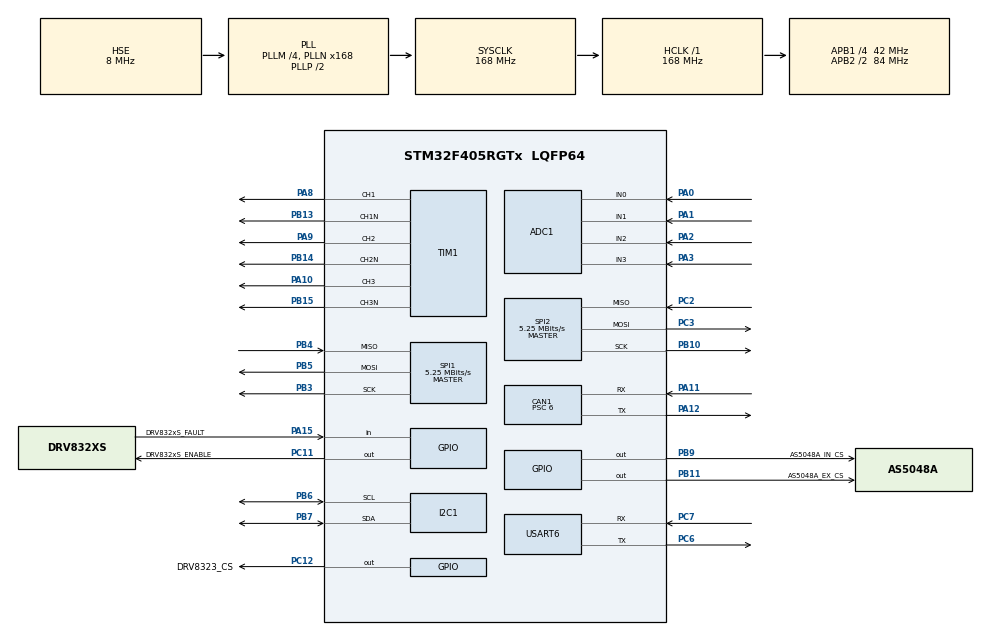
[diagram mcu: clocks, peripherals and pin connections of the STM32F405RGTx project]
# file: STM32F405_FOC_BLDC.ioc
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ADC1.Channel-0\#ChannelRegularConversion=ADC_CHANNEL_0
ADC1.Channel-1\#ChannelInjectedConversion=ADC_CHANNEL_0
ADC1.Channel-2\#ChannelInjectedConversion=ADC_CHANNEL_1
ADC1.Channel-3\#ChannelInjectedConversion=ADC_CHANNEL_2
ADC1.Channel-4\#ChannelInjectedConversion=ADC_CHANNEL_3
ADC1.ExternalTrigInjecConv=ADC_EXTERNALTRIGINJECCONV_T1_CC4
ADC1.InjNumberOfConversion=4
ADC1.InjectedOffset-1\#ChannelInjectedConversion=0
ADC1.InjectedOffset-2\#ChannelInjectedConversion=0
ADC1.InjectedOffset-3\#ChannelInjectedConversion=0
ADC1.InjectedOffset-4\#ChannelInjectedConversion=0
ADC1.InjectedRank-1\#ChannelInjectedConversion=1
ADC1.InjectedRank-2\#ChannelInjectedConversion=2
ADC1.InjectedRank-3\#ChannelInjectedConversion=3
ADC1.InjectedRank-4\#ChannelInjectedConversion=4
ADC1.NbrOfConversionFlag=1
ADC1.Rank-0\#ChannelRegularConversion=1
ADC1.SamplingTime-0\#ChannelRegularConversion=ADC_SAMPLETIME_3CYCLES
ADC1.SamplingTime-1\#ChannelInjectedConversion=ADC_SAMPLETIME_15CYCLES
ADC1.SamplingTime-2\#ChannelInjectedConversion=ADC_SAMPLETIME_15CYCLES
ADC1.SamplingTime-3\#ChannelInjectedConversion=ADC_SAMPLETIME_15CYCLES
ADC1.SamplingTime-4\#ChannelInjectedConversion=ADC_SAMPLETIME_15CYCLES
ADC1.master=1
CAN1.BS1=CAN_BS1_2TQ
CAN1.BS2=CAN_BS2_4TQ
CAN1.CalculateBaudRate=1000000
CAN1.CalculateTimeBit=1000
CAN1.CalculateTimeQuantum=142.85714285714286
CAN1.Prescaler=6
Dma.I2C1_RX.4.Direction=DMA_PERIPH_TO_MEMORY
Dma.I2C1_RX.4.FIFOMode=DMA_FIFOMODE_DISABLE
Dma.I2C1_RX.4.Instance=DMA1_Stream0
Dma.I2C1_RX.4.MemDataAlignment=DMA_MDATAALIGN_BYTE
Dma.I2C1_RX.4.MemInc=DMA_MINC_ENABLE
Dma.I2C1_RX.4.Mode=DMA_NORMAL
Dma.I2C1_RX.4.PeriphDataAlignment=DMA_PDATAALIGN_BYTE
Dma.I2C1_RX.4.PeriphInc=DMA_PINC_DISABLE
Dma.I2C1_RX.4.Priority=DMA_PRIORITY_LOW
Dma.I2C1_TX.5.Direction=DMA_MEMORY_TO_PERIPH
Dma.I2C1_TX.5.FIFOMode=DMA_FIFOMODE_DISABLE
Dma.I2C1_TX.5.Instance=DMA1_Stream6
Dma.I2C1_TX.5.MemDataAlignment=DMA_MDATAALIGN_BYTE
Dma.I2C1_TX.5.MemInc=DMA_MINC_ENABLE
Dma.I2C1_TX.5.Mode=DMA_NORMAL
Dma.I2C1_TX.5.PeriphDataAlignment=DMA_PDATAALIGN_BYTE
Dma.I2C1_TX.5.PeriphInc=DMA_PINC_DISABLE
Dma.I2C1_TX.5.Priority=DMA_PRIORITY_LOW
Dma.Request0=USART6_RX
Dma.Request1=USART6_TX
Dma.Request2=SPI2_RX
Dma.Request3=SPI2_TX
Dma.Request4=I2C1_RX
Dma.Request5=I2C1_TX
Dma.Request6=SPI1_RX
Dma.Request7=SPI1_TX
Dma.SPI1_RX.6.Direction=DMA_PERIPH_TO_MEMORY
Dma.SPI1_RX.6.FIFOMode=DMA_FIFOMODE_DISABLE
Dma.SPI1_RX.6.Instance=DMA2_Stream0
Dma.SPI1_RX.6.MemDataAlignment=DMA_MDATAALIGN_BYTE
Dma.SPI1_RX.6.MemInc=DMA_MINC_ENABLE
Dma.SPI1_RX.6.Mode=DMA_NORMAL
Dma.SPI1_RX.6.PeriphDataAlignment=DMA_PDATAALIGN_BYTE
Dma.SPI1_RX.6.PeriphInc=DMA_PINC_DISABLE
Dma.SPI1_RX.6.Priority=DMA_PRIORITY_LOW
Dma.SPI1_TX.7.Direction=DMA_MEMORY_TO_PERIPH
Dma.SPI1_TX.7.FIFOMode=DMA_FIFOMODE_DISABLE
Dma.SPI1_TX.7.Instance=DMA2_Stream3
Dma.SPI1_TX.7.MemDataAlignment=DMA_MDATAALIGN_BYTE
Dma.SPI1_TX.7.MemInc=DMA_MINC_ENABLE
Dma.SPI1_TX.7.Mode=DMA_NORMAL
Dma.SPI1_TX.7.PeriphDataAlignment=DMA_PDATAALIGN_BYTE
Dma.SPI1_TX.7.PeriphInc=DMA_PINC_DISABLE
Dma.SPI1_TX.7.Priority=DMA_PRIORITY_LOW
Dma.SPI2_RX.2.Direction=DMA_PERIPH_TO_MEMORY
Dma.SPI2_RX.2.FIFOMode=DMA_FIFOMODE_DISABLE
Dma.SPI2_RX.2.Instance=DMA1_Stream3
Dma.SPI2_RX.2.MemDataAlignment=DMA_MDATAALIGN_BYTE
Dma.SPI2_RX.2.MemInc=DMA_MINC_ENABLE
Dma.SPI2_RX.2.Mode=DMA_NORMAL
Dma.SPI2_RX.2.PeriphDataAlignment=DMA_PDATAALIGN_BYTE
Dma.SPI2_RX.2.PeriphInc=DMA_PINC_DISABLE
Dma.SPI2_RX.2.Priority=DMA_PRIORITY_LOW
Dma.SPI2_TX.3.Direction=DMA_MEMORY_TO_PERIPH
Dma.SPI2_TX.3.FIFOMode=DMA_FIFOMODE_DISABLE
Dma.SPI2_TX.3.Instance=DMA1_Stream4
Dma.SPI2_TX.3.MemDataAlignment=DMA_MDATAALIGN_BYTE
Dma.SPI2_TX.3.MemInc=DMA_MINC_ENABLE
Dma.SPI2_TX.3.Mode=DMA_NORMAL
Dma.SPI2_TX.3.PeriphDataAlignment=DMA_PDATAALIGN_BYTE
Dma.SPI2_TX.3.PeriphInc=DMA_PINC_DISABLE
Dma.SPI2_TX.3.Priority=DMA_PRIORITY_LOW
Dma.USART6_RX.0.Direction=DMA_PERIPH_TO_MEMORY
Dma.USART6_RX.0.FIFOMode=DMA_FIFOMODE_DISABLE
Dma.USART6_RX.0.Instance=DMA2_Stream1
Dma.USART6_RX.0.MemDataAlignment=DMA_MDATAALIGN_BYTE
Dma.USART6_RX.0.MemInc=DMA_MINC_ENABLE
Dma.USART6_RX.0.Mode=DMA_NORMAL
Dma.USART6_RX.0.PeriphDataAlignment=DMA_PDATAALIGN_BYTE
Dma.USART6_RX.0.PeriphInc=DMA_PINC_DISABLE
Dma.USART6_RX.0.Priority=DMA_PRIORITY_LOW
Dma.USART6_TX.1.Direction=DMA_MEMORY_TO_PERIPH
Dma.USART6_TX.1.FIFOMode=DMA_FIFOMODE_DISABLE
Dma.USART6_TX.1.Instance=DMA2_Stream6
Dma.USART6_TX.1.MemDataAlignment=DMA_MDATAALIGN_BYTE
Dma.USART6_TX.1.MemInc=DMA_MINC_ENABLE
Dma.USART6_TX.1.Mode=DMA_NORMAL
Dma.USART6_TX.1.PeriphDataAlignment=DMA_PDATAALIGN_BYTE
Dma.USART6_TX.1.PeriphInc=DMA_PINC_DISABLE
Dma.USART6_TX.1.Priority=DMA_PRIORITY_LOW
FREERTOS.Tasks01=defaultTask,24,128,StartDefaultTask,Default,NULL,Dynamic,NULL,NULL
FREERTOS.configENABLE_FPU=1
Mcu.Family=STM32F4
Mcu.Name=STM32F405RGTx
Mcu.Package=LQFP64
NVIC.ADC_IRQn=true\:6\:0\:true\:false\:true\:true\:true\:true\:true
NVIC.CAN1_RX0_IRQn=true\:8\:0\:true\:false\:true\:true\:true\:true\:true
NVIC.DMA1_Stream0_IRQn=true\:7\:0\:true\:false\:true\:true\:false\:true\:true
NVIC.DMA1_Stream3_IRQn=true\:7\:0\:true\:false\:true\:true\:false\:true\:true
NVIC.DMA1_Stream4_IRQn=true\:7\:0\:true\:false\:true\:true\:false\:true\:true
NVIC.DMA1_Stream6_IRQn=true\:7\:0\:true\:false\:true\:true\:false\:true\:true
NVIC.DMA2_Stream0_IRQn=true\:7\:0\:true\:false\:true\:true\:false\:true\:true
NVIC.DMA2_Stream1_IRQn=true\:7\:0\:true\:false\:true\:true\:false\:true\:true
NVIC.DMA2_Stream3_IRQn=true\:7\:0\:true\:false\:true\:true\:false\:true\:true
NVIC.DMA2_Stream6_IRQn=true\:7\:0\:true\:false\:true\:true\:false\:true\:true
NVIC.I2C1_EV_IRQn=true\:14\:0\:true\:false\:true\:true\:true\:true\:true
NVIC.PriorityGroup=NVIC_PRIORITYGROUP_4
NVIC.SPI1_IRQn=true\:13\:0\:true\:false\:true\:true\:true\:true\:true
NVIC.SPI2_IRQn=true\:13\:0\:true\:false\:true\:true\:true\:true\:true
NVIC.TIM1_TRG_COM_TIM11_IRQn=true\:15\:0\:false\:false\:true\:false\:false\:true\:true
NVIC.TIM1_UP_TIM10_IRQn=true\:15\:0\:false\:false\:true\:false\:false\:true\:true
NVIC.TimeBase=TIM1_TRG_COM_TIM11_IRQn
NVIC.TimeBaseIP=TIM11
NVIC.USART6_IRQn=true\:8\:0\:true\:false\:true\:true\:false\:true\:true
PA0-WKUP.Signal=ADCx_IN0
PA1.Signal=ADCx_IN1
PA10.Signal=S_TIM1_CH3
PA11.Mode=CAN_Activate
PA11.Signal=CAN1_RX
PA12.Mode=CAN_Activate
PA12.Signal=CAN1_TX
PA13.Mode=Serial_Wire
PA13.Signal=SYS_JTMS-SWDIO
PA14.Mode=Serial_Wire
PA14.Signal=SYS_JTCK-SWCLK
PA15.GPIO_Label=DRV832xS_FAULT
PA15.Signal=GPIO_Input
PA2.Signal=ADCx_IN2
PA3.Signal=ADCx_IN3
PA8.Signal=S_TIM1_CH1
PA9.Signal=S_TIM1_CH2
PB10.Mode=Full_Duplex_Master
PB10.Signal=SPI2_SCK
PB11.GPIO_Label=AS5048A_EX_CS
PB11.GPIO_ModeDefaultOutputPP=GPIO_MODE_OUTPUT_PP
PB11.GPIO_PuPd=GPIO_NOPULL
PB11.GPIO_Speed=GPIO_SPEED_FREQ_VERY_HIGH
PB11.Signal=GPIO_Output
PB13.Mode=Output Compare1 CH1 CH1N
PB13.Signal=TIM1_CH1N
PB14.Mode=PWM Generation2 CH2 CH2N
PB14.Signal=TIM1_CH2N
PB15.Mode=PWM Generation3 CH3 CH3N
PB15.Signal=TIM1_CH3N
PB3.Mode=Full_Duplex_Master
PB3.Signal=SPI1_SCK
PB4.Mode=Full_Duplex_Master
PB4.Signal=SPI1_MISO
PB5.Mode=Full_Duplex_Master
PB5.Signal=SPI1_MOSI
PB6.Mode=I2C
PB6.Signal=I2C1_SCL
PB7.Mode=I2C
PB7.Signal=I2C1_SDA
PB9.GPIO_Label=AS5048A_IN_CS
PB9.GPIO_ModeDefaultOutputPP=GPIO_MODE_OUTPUT_PP
PB9.GPIO_PuPd=GPIO_NOPULL
PB9.GPIO_Speed=GPIO_SPEED_FREQ_VERY_HIGH
PB9.Signal=GPIO_Output
PC11.GPIO_Label=DRV832xS_ENABLE
PC11.GPIO_ModeDefaultOutputPP=GPIO_MODE_OUTPUT_PP
PC11.GPIO_PuPd=GPIO_NOPULL
PC11.GPIO_Speed=GPIO_SPEED_FREQ_VERY_HIGH
PC11.Signal=GPIO_Output
PC12.GPIO_Label=DRV8323_CS
PC12.GPIO_ModeDefaultOutputPP=GPIO_MODE_OUTPUT_PP
PC12.GPIO_PuPd=GPIO_NOPULL
PC12.GPIO_Speed=GPIO_SPEED_FREQ_VERY_HIGH
PC12.Signal=GPIO_Output
PC2.Mode=Full_Duplex_Master
PC2.Signal=SPI2_MISO
PC3.Mode=Full_Duplex_Master
PC3.Signal=SPI2_MOSI
PC6.Mode=Asynchronous
PC6.Signal=USART6_TX
PC7.Mode=Asynchronous
PC7.Signal=USART6_RX
PH0-OSC_IN.Mode=HSE-External-Oscillator
PH0-OSC_IN.Signal=RCC_OSC_IN
PH1-OSC_OUT.Mode=HSE-External-Oscillator
PH1-OSC_OUT.Signal=RCC_OSC_OUT
ProjectManager.HeapSize=0x200
ProjectManager.StackSize=0x400
ProjectManager.TargetToolchain=Makefile
RCC.48MHZClocksFreq_Value=84000000
RCC.AHBFreq_Value=168000000
RCC.APB1CLKDivider=RCC_HCLK_DIV4
RCC.APB1Freq_Value=42000000
RCC.APB1TimFreq_Value=84000000
RCC.APB2CLKDivider=RCC_HCLK_DIV2
RCC.APB2Freq_Value=84000000
RCC.APB2TimFreq_Value=168000000
RCC.CortexFreq_Value=168000000
RCC.HCLKFreq_Value=168000000
RCC.HSE_VALUE=8000000
RCC.HSI_VALUE=16000000
RCC.LSE_VALUE=32768
RCC.PLLM=4
RCC.PLLN=168
RCC.PLLSourceVirtual=RCC_PLLSOURCE_HSE
RCC.SYSCLKFreq_VALUE=168000000
RCC.SYSCLKSource=RCC_SYSCLKSOURCE_PLLCLK
RCC.VCOOutputFreq_Value=336000000
SH.ADCx_IN0.0=ADC1_IN0,IN0
SH.ADCx_IN1.0=ADC1_IN1,IN1
SH.ADCx_IN2.0=ADC1_IN2,IN2
SH.ADCx_IN3.0=ADC1_IN3,IN3
SH.S_TIM1_CH1.0=TIM1_CH1,Output Compare1 CH1 CH1N
SH.S_TIM1_CH2.0=TIM1_CH2,PWM Generation2 CH2 CH2N
SH.S_TIM1_CH3.0=TIM1_CH3,PWM Generation3 CH3 CH3N
SPI1.BaudRatePrescaler=SPI_BAUDRATEPRESCALER_16
SPI1.CalculateBaudRate=5.25 MBits/s
SPI1.DataSize=SPI_DATASIZE_8BIT
SPI1.Direction=SPI_DIRECTION_2LINES
SPI1.Mode=SPI_MODE_MASTER
SPI1.VirtualType=VM_MASTER
SPI2.BaudRatePrescaler=SPI_BAUDRATEPRESCALER_8
SPI2.CalculateBaudRate=5.25 MBits/s
SPI2.Direction=SPI_DIRECTION_2LINES
SPI2.Mode=SPI_MODE_MASTER
SPI2.VirtualType=VM_MASTER
TIM1.Channel-Output\ Compare1\ CH1\ CH1N=TIM_CHANNEL_1
TIM1.Channel-PWM\ Generation2\ CH2\ CH2N=TIM_CHANNEL_2
TIM1.Channel-PWM\ Generation3\ CH3\ CH3N=TIM_CHANNEL_3
TIM1.Channel-PWM\ Generation4\ No\ Output=TIM_CHANNEL_4
USART6.VirtualMode=VM_ASYNC
VP_FREERTOS_VS_CMSIS_V2.Mode=CMSIS_V2
VP_SYS_VS_tim11.Mode=TIM11
VP_TIM1_VS_ClockSourceINT.Mode=Internal
VP_TIM1_VS_no_output4.Mode=PWM Generation4 No Output
board=custom

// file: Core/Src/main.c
/* USER CODE BEGIN Header */
/**
  ******************************************************************************
  * @file           : main.c
  * @brief          : Main program body
  ******************************************************************************
  * @attention
  *
  * Copyright (c) 2026 STMicroelectronics.
  * All rights reserved.
  *
  * This software is licensed under terms that can be found in the LICENSE file
  * in the root directory of this software component.
  * If no LICENSE file comes with this software, it is provided AS-IS.
  *
  ******************************************************************************
  */
/* USER CODE END Header */
#include "main.h"
#include "cmsis_os.h"

/* USER CODE BEGIN Includes */
#include "device_config.h"
#include "stm32f405_link.h"
#include "motor.h"
#include "as5048a.h"
#include "FOC_utils.h"
#include "self_commissioning.h"
#include "storage.h"
#include "sf_motion_usb_com.h"
#include "sf_motion_com.h"
#include "string.h"
/* USER CODE END Includes */

ADC_HandleTypeDef hadc1;

CAN_HandleTypeDef hcan1;

I2C_HandleTypeDef hi2c1;
DMA_HandleTypeDef hdma_i2c1_rx;
DMA_HandleTypeDef hdma_i2c1_tx;

SPI_HandleTypeDef hspi1;
SPI_HandleTypeDef hspi2;
DMA_HandleTypeDef hdma_spi1_rx;
DMA_HandleTypeDef hdma_spi1_tx;
DMA_HandleTypeDef hdma_spi2_rx;
DMA_HandleTypeDef hdma_spi2_tx;

TIM_HandleTypeDef htim1;

UART_HandleTypeDef huart6;
DMA_HandleTypeDef hdma_usart6_rx;
DMA_HandleTypeDef hdma_usart6_tx;

/* Definitions for defaultTask */
osThreadId_t defaultTaskHandle;
const osThreadAttr_t defaultTask_attributes = {
  .name = "defaultTask",
  .stack_size = 128 * 4,
  .priority = (osPriority_t) osPriorityNormal,
};
/* USER CODE BEGIN PV */

AS5048A_t hencd1;
uint32_t adc_buff[4];
foc_t hfoc1;
self_commissioning_t hsc1;
storage_t hstorage1;

sfm_usb_com_t hsfm_usb_com;
sfm_com_t husb_com;
sfm_com_t hcan_com;

char usb_send_buff[64];
uint8_t can_send_buff[64];
uint8_t can_recv_buff[64];

/* USER CODE END PV */

void SystemClock_Config(void);
static void MX_GPIO_Init(void);
static void MX_DMA_Init(void);
static void MX_ADC1_Init(void);
static void MX_TIM1_Init(void);
static void MX_USART6_UART_Init(void);
static void MX_SPI1_Init(void);
static void MX_SPI2_Init(void);
static void MX_CAN1_Init(void);
static void MX_I2C1_Init(void);
void StartDefaultTask(void *argument);

/* USER CODE BEGIN 0 */

void motor1_inverter_enable(void) {
  DRV832xS_ENABLE_GPIO_Port->BSRR = DRV832xS_ENABLE_Pin;
  // link_enable_pwm(&htim1);
  // link_enable_adc(&hadc1);
}

void motor1_inverter_disable(void) {
  DRV832xS_ENABLE_GPIO_Port->BSRR = DRV832xS_ENABLE_Pin<<16;
  // link_disable_pwm(&htim1);
  // link_disable_adc(&hadc1);
}

uint32_t motor1_get_pwm_res(void) {
  return link_get_max_pwm(&htim1);
}

float motor1_as5048a_get_mech_deg(void) {
  return AS5048A_get_degree(&hencd1);
}

float motor1_as5048a_get_continuous_mech_deg(void) {
  return AS5048A_get_continuous_degree(&hencd1);
}

float motor1_as5048a_get_rpm(void) {
  return AS5048A_get_rpm(&hencd1);
}

int motor1_as5048a_spi_transmit(uint8_t *tx, uint8_t *rx, uint16_t len) {
  if (HAL_SPI_TransmitReceive_DMA(&hspi2, tx, rx, len) == HAL_OK) return 0;
  return -1;
}

// void motor1_as5047p_spi_cs(_Bool cs_state) {
//   if (cs_state) SPI_CS_GPIO_Port->BSRR = SPI_CS_Pin;
//   else SPI_CS_GPIO_Port->BSRR = SPI_CS_Pin<<16;
// }

int write_flash(void *data, uint32_t len) {
  return link_write_flash(data, len);
}

int read_flash(void *data, uint32_t len) {
  memcpy(data, (void*)FLASH_SECTOR_ADDR, len);
  return 0;
}

// int usb_send_data(uint8_t *data, uint16_t len) {
//   if (CDC_Transmit_FS(data, len) != USBD_OK) return -1;
//   return 0;
// }

int sfm_com_usb_send_data(uint8_t *data, uint16_t len) {
  if (sfm_usb_com_start_send_data(&hsfm_usb_com, data, len) == 0) return 0;
  return -1;
}

int sfm_com_usb_recv_data(uint8_t *data, uint16_t len) {
  (void)data;
  (void)len;
  return 0;
}

int can_recv_data(uint8_t *data, uint16_t len) {
  (void)data;
  (void)len;
  return 0;
}

int can_send_data(uint8_t *data, uint16_t len) {
  uint32_t can_std_id = (data[0] << 8) | data[1];
  return link_can_send_data(can_std_id, data + 2, len);
}

/**************************************************************************** */

static void init_motor(void) {
  // motor pwm
  motor_init_pwm(&hfoc1.motor, &TIM1->CCR1, &TIM1->CCR2, &TIM1->CCR3);
  // current sense
  motor_init_adc_current_sense(&hfoc1.motor, &adc_buff[0], &adc_buff[1], &adc_buff[2]);
  // power voltage sense
  motor_init_adc_power_voltage_sense(&hfoc1.motor, &adc_buff[3]);
  motor_init_lpf_power_voltage_sense(&hfoc1.motor, hstorage1.memory.voltage_sens.filter_fc, BLDC_PWM_FREQ);
  // current sense amplifier calibration enable (for internal CSA only)
  // CSA_CAL1_GPIO_Port->BSRR = CSA_CAL1_Pin << 16;
}

static void init_encoder(void) {
  AS5048A_Config(&hencd1, motor1_as5048a_spi_transmit,GPIO_AS5048A_EX_CS_EN,GPIO_AS5048A_EX_CS_DIS);
  AS5048A_Init(&hencd1,
              hstorage1.memory.encoder_config.is_dir_inverted? SENSOR_DIR_REVERSE : SENSOR_DIR_NORMAL,
              hstorage1.memory.encoder_config.scale);
  AS5048A_set_pll_filter(&hencd1,
                        hstorage1.memory.encoder_config.pll_filt_bandwidth,
                        hstorage1.memory.encoder_config.pll_filt_damping_ratio,
                        FOC_TS);
}

static void init_foc(void) {
#if USB_TO_CAN
  link_can_init(USB_TO_CAN_DEVICE_ID);
  sfm_usb_com_init(&hsfm_usb_com, usb_send_data);
  sfm_com_init(&husb_com,
              sfm_com_usb_recv_data,
              sfm_com_usb_send_data,
              HAL_GetTick,
              link_system_reset,
              &hfoc1, &hstorage1, &hsc1);
  sfm_com_init(&hcan_com,
              can_recv_data,
              can_send_data,
              HAL_GetTick,
              link_system_reset,
              &hfoc1, &hstorage1, &hsc1);
#else
  storage_init(&hstorage1, write_flash, read_flash);
  storage_read_config(&hstorage1);
  storage_copy_to_local(&hstorage1, &hfoc1);

  link_set_pwm_freq(&htim1, BLDC_PWM_FREQ);
  init_motor();
  init_encoder();
  sc_init(&hsc1, &hfoc1);

  i2t_init(&hfoc1.i2t, FOC_TS);
  i2t_set_config(&hfoc1.i2t,
                hstorage1.memory.protection.i2t_i_rated,
                hstorage1.memory.protection.i2t_i_max,
                hstorage1.memory.protection.i2t_t_max);
  float uv = hstorage1.memory.protection.under_voltage;
  float ov = hstorage1.memory.protection.over_voltage;
  vbus_init(&hfoc1.vbus_prot, uv, ov, FOC_TS);
  foc_inverter_init(&hfoc1, motor1_inverter_enable, motor1_inverter_disable, motor1_get_pwm_res);
  foc_feedback_sensor_init(&hfoc1,
                          motor1_as5048a_get_mech_deg,
                          motor1_as5048a_get_continuous_mech_deg,
                          motor1_as5048a_get_rpm,
                          hstorage1.memory.encoder_config.error_comp_deg);
  foc_cogging_comp_init(&hfoc1, hstorage1.memory.cogging_torque.current_LUT);
  foc_disable(&hfoc1);

  link_can_init(hfoc1.motor.device_id);
  // sfm_usb_com_init(&hsfm_usb_com, usb_send_data);
  // sfm_com_init(&husb_com,
  //             sfm_com_usb_recv_data,
  //             sfm_com_usb_send_data,
  //             HAL_GetTick,
  //             link_system_reset,
  //             &hfoc1, &hstorage1, &hsc1);
  sfm_com_init(&hcan_com,
              can_recv_data,
              can_send_data,
              HAL_GetTick,
              link_system_reset,
              &hfoc1, &hstorage1, &hsc1);

  // Id PI parameter
  pid_reset(&hfoc1.id_ctrl);
  pid_set_ts(&hfoc1.id_ctrl, FOC_TS);
  // Id PI parameter
  pid_reset(&hfoc1.iq_ctrl);
  pid_set_ts(&hfoc1.iq_ctrl, FOC_TS);
  // Speed PID parameter
  pid_reset(&hfoc1.speed_ctrl);
  pid_set_ts(&hfoc1.speed_ctrl, SPEED_TS);
  // Position PID parameter
  pid_reset(&hfoc1.pos_ctrl);
  pid_set_ts(&hfoc1.pos_ctrl, POSITION_TS);
  pid_set_max_d(&hfoc1.pos_ctrl, 100.0f);
  // field weakening
  pid_reset(&hfoc1.fw_ctrl);
  pid_set_ts(&hfoc1.fw_ctrl, FOC_TS);

  // foc_set_mode(&hfoc1, FOC_MODE_SENSORLESS_SMO_HFI_NEW);
  foc_sensorless_init(&hfoc1, BLDC_PWM_FREQ);

  // HAL_Delay(500);
  link_enable_pwm(&htim1);
  link_enable_adc(&hadc1);
  foc_enable(&hfoc1);
  // foc_set_motor_mode(&hfoc1, hstorage1.memory.motor_config.motor_mode);
#endif
}

// static void indicator_update(void) {
//   static uint32_t heartbeat_tick = 0;
//   if (HAL_GetTick() - heartbeat_tick >= 500) {
//     heartbeat_tick = HAL_GetTick();
//     HAL_GPIO_TogglePin(LED_G_GPIO_Port, LED_G_Pin);
//   }
//   if (HAL_GPIO_ReadPin(NFAULT1_GPIO_Port, NFAULT1_Pin)) {
//     LED_R_GPIO_Port->BSRR = LED_R_Pin<<16;
//   }
//   else {
//     LED_R_GPIO_Port->BSRR = LED_R_Pin;
//   }
// }

static void self_commissioning_update(void) {
  if (sc_is_measure_done(&hsc1)) {
    switch(sc_get_seq(&hsc1)) {
      case SC_SEQUENCE_START_MEASURE_RS:
        foc_set_motor_Rs(&hfoc1, sc_get_Rs(&hsc1));
        break;
      case SC_SEQUENCE_START_MEASURE_LD:
        foc_set_motor_Ld(&hfoc1, sc_get_Ld(&hsc1));
        break;
      case SC_SEQUENCE_START_MEASURE_LQ:
        foc_set_motor_Lq(&hfoc1, sc_get_Lq(&hsc1));
        break;
      case SC_SEQUENCE_START_CALIBRATE_ABS_ENCODER:
        break;
      case SC_SEQUENCE_START_CALC_POLE_PAIRS:
        break;
      case SC_SEQUENCE_START_MEASURE_COGGING_TORQUE:
        husb_com.show_cogging_torque_lut = 1;
        break;
      default:
        break;
    }
    sfm_com_send_event(&husb_com, SFM_EVENT_SELFCOM_DONE);
    sfm_com_send_event(&hcan_com, SFM_EVENT_SELFCOM_DONE);
  }
}

static void event_update(void) {
  foc_error_t error_code = FOC_ERROR_NONE;
  if (foc_get_error_flag(&hfoc1, &error_code)) {
    switch (error_code) {
      case FOC_ERROR_I2T_TRIPPED: {
        sfm_com_send_event(&husb_com, SFM_EVENT_I2T_TRIPPED);
        sfm_com_send_event(&hcan_com, SFM_EVENT_I2T_TRIPPED);
        break;
      }
      case FOC_ERROR_OVER_VOLTAGE: {
        sfm_com_send_event(&husb_com, SFM_EVENT_OVER_VOLTAGE);
        sfm_com_send_event(&hcan_com, SFM_EVENT_OVER_VOLTAGE);
        break;
      }
      case FOC_ERROR_UNDER_VOLTAGE: {
        sfm_com_send_event(&husb_com, SFM_EVENT_UNDER_VOLTAGE);
        sfm_com_send_event(&hcan_com, SFM_EVENT_UNDER_VOLTAGE);
        break;
      }
      default:
        break;
    }
  }
}

void usb_to_can_update(void) {
  if (husb_com.incomming_data_flag) {
    husb_com.incomming_data_flag = 0;
    hcan_com.send_data(husb_com.data_rx, husb_com.data_rx_len);
  }
  if (hcan_com.incomming_data_flag) {
    hcan_com.incomming_data_flag = 0;
    husb_com.send_data(hcan_com.data_rx, hcan_com.data_rx_len);
  }
}

/**************************************************************************** */

void HAL_SPI_TxRxCpltCallback(SPI_HandleTypeDef *hspi) {
	if (hspi->Instance == SPI1) {
    AS5048A_set_spi_transfer_done(&hencd1);
	}
}

void HAL_ADCEx_InjectedConvCpltCallback(ADC_HandleTypeDef* hadc) {
	if (hadc->Instance == ADC1) {
    adc_buff[0] = ADC1->JDR1; // current sense A
    adc_buff[1] = ADC1->JDR2; // current sense B
    adc_buff[2] = ADC1->JDR3; // current sense C
    adc_buff[3] = ADC1->JDR4; // power voltage sense
    motor_calculate_power_voltage(&hfoc1.motor);
    motor_get_power_voltage(&hfoc1.motor, &hfoc1.v_bus);
    AS5048A_pll_filter_update(&hencd1);
    sc_update(&hsc1, FOC_TS);
    foc_update(&hfoc1, FOC_TS);
  }
}

// CAN RX FIFO 0 Callback
void HAL_CAN_RxFifo0MsgPendingCallback(CAN_HandleTypeDef *hcan){
  uint32_t id;
  if (link_can_recv_data(&id, hcan_com.data_rx, &hcan_com.data_rx_len) == 0) {
    hcan_com.incomming_data_flag = 1;
  }
}

/**************************************************************************** */

/* USER CODE END 0 */

int main(void)
{

  /* MCU Configuration--------------------------------------------------------*/

  /* Reset of all peripherals, Initializes the Flash interface and the Systick. */
  HAL_Init();

  /* Configure the system clock */
  SystemClock_Config();

  /* Initialize all configured peripherals */
  MX_GPIO_Init();
  MX_DMA_Init();
  MX_ADC1_Init();
  MX_TIM1_Init();
  MX_USART6_UART_Init();
  MX_SPI1_Init();
  MX_SPI2_Init();
  MX_CAN1_Init();
  MX_I2C1_Init();
  /* USER CODE BEGIN 2 */

  init_foc();

  /* USER CODE END 2 */

  /* Init scheduler */
  osKernelInitialize();

  /* Create the thread(s) */
  /* creation of defaultTask */
  defaultTaskHandle = osThreadNew(StartDefaultTask, NULL, &defaultTask_attributes);

  /* Start scheduler */
  osKernelStart();

  /* We should never get here as control is now taken by the scheduler */

  /* Infinite loop */
  /* USER CODE BEGIN WHILE */
  while (1)
  {

    // indicator_update();
#if USB_TO_CAN
    usb_to_can_update();
#else
    AS5048A_update(&hencd1);
    event_update();
    // sfm_com_update(&husb_com);
    sfm_com_update(&hcan_com);
    self_commissioning_update();
#endif
    /* USER CODE END WHILE */

  }
}

void SystemClock_Config(void)
{
  RCC_OscInitTypeDef RCC_OscInitStruct = {0};
  RCC_ClkInitTypeDef RCC_ClkInitStruct = {0};

  /** Configure the main internal regulator output voltage
  */
  __HAL_RCC_PWR_CLK_ENABLE();
  __HAL_PWR_VOLTAGESCALING_CONFIG(PWR_REGULATOR_VOLTAGE_SCALE1);

  /** Initializes the RCC Oscillators according to the specified parameters
  * in the RCC_OscInitTypeDef structure.
  */
  RCC_OscInitStruct.OscillatorType = RCC_OSCILLATORTYPE_HSE;
  RCC_OscInitStruct.HSEState = RCC_HSE_ON;
  RCC_OscInitStruct.PLL.PLLState = RCC_PLL_ON;
  RCC_OscInitStruct.PLL.PLLSource = RCC_PLLSOURCE_HSE;
  RCC_OscInitStruct.PLL.PLLM = 4;
  RCC_OscInitStruct.PLL.PLLN = 168;
  RCC_OscInitStruct.PLL.PLLP = RCC_PLLP_DIV2;
  RCC_OscInitStruct.PLL.PLLQ = 4;
  if (HAL_RCC_OscConfig(&RCC_OscInitStruct) != HAL_OK)
  {
    Error_Handler();
  }

  /** Initializes the CPU, AHB and APB buses clocks
  */
  RCC_ClkInitStruct.ClockType = RCC_CLOCKTYPE_HCLK|RCC_CLOCKTYPE_SYSCLK
                              |RCC_CLOCKTYPE_PCLK1|RCC_CLOCKTYPE_PCLK2;
  RCC_ClkInitStruct.SYSCLKSource = RCC_SYSCLKSOURCE_PLLCLK;
  RCC_ClkInitStruct.AHBCLKDivider = RCC_SYSCLK_DIV1;
  RCC_ClkInitStruct.APB1CLKDivider = RCC_HCLK_DIV4;
  RCC_ClkInitStruct.APB2CLKDivider = RCC_HCLK_DIV2;

  if (HAL_RCC_ClockConfig(&RCC_ClkInitStruct, FLASH_LATENCY_5) != HAL_OK)
  {
    Error_Handler();
  }
}

static void MX_ADC1_Init(void)
{

  ADC_ChannelConfTypeDef sConfig = {0};
  ADC_InjectionConfTypeDef sConfigInjected = {0};

  /** Configure the global features of the ADC (Clock, Resolution, Data Alignment and number of conversion)
  */
  hadc1.Instance = ADC1;
  hadc1.Init.ClockPrescaler = ADC_CLOCK_SYNC_PCLK_DIV4;
  hadc1.Init.Resolution = ADC_RESOLUTION_12B;
  hadc1.Init.ScanConvMode = ENABLE;
  hadc1.Init.ContinuousConvMode = DISABLE;
  hadc1.Init.DiscontinuousConvMode = DISABLE;
  hadc1.Init.ExternalTrigConvEdge = ADC_EXTERNALTRIGCONVEDGE_NONE;
  hadc1.Init.ExternalTrigConv = ADC_SOFTWARE_START;
  hadc1.Init.DataAlign = ADC_DATAALIGN_RIGHT;
  hadc1.Init.NbrOfConversion = 1;
  hadc1.Init.DMAContinuousRequests = DISABLE;
  hadc1.Init.EOCSelection = ADC_EOC_SINGLE_CONV;
  if (HAL_ADC_Init(&hadc1) != HAL_OK)
  {
    Error_Handler();
  }

  /** Configure for the selected ADC regular channel its corresponding rank in the sequencer and its sample time.
  */
  sConfig.Channel = ADC_CHANNEL_0;
  sConfig.Rank = 1;
  sConfig.SamplingTime = ADC_SAMPLETIME_3CYCLES;
  if (HAL_ADC_ConfigChannel(&hadc1, &sConfig) != HAL_OK)
  {
    Error_Handler();
  }

  /** Configures for the selected ADC injected channel its corresponding rank in the sequencer and its sample time
  */
  sConfigInjected.InjectedChannel = ADC_CHANNEL_0;
  sConfigInjected.InjectedRank = 1;
  sConfigInjected.InjectedNbrOfConversion = 4;
  sConfigInjected.InjectedSamplingTime = ADC_SAMPLETIME_15CYCLES;
  sConfigInjected.ExternalTrigInjecConvEdge = ADC_EXTERNALTRIGINJECCONVEDGE_RISING;
  sConfigInjected.ExternalTrigInjecConv = ADC_EXTERNALTRIGINJECCONV_T1_CC4;
  sConfigInjected.AutoInjectedConv = DISABLE;
  sConfigInjected.InjectedDiscontinuousConvMode = DISABLE;
  sConfigInjected.InjectedOffset = 0;
  if (HAL_ADCEx_InjectedConfigChannel(&hadc1, &sConfigInjected) != HAL_OK)
  {
    Error_Handler();
  }

  /** Configures for the selected ADC injected channel its corresponding rank in the sequencer and its sample time
  */
  sConfigInjected.InjectedChannel = ADC_CHANNEL_1;
  sConfigInjected.InjectedRank = 2;
  if (HAL_ADCEx_InjectedConfigChannel(&hadc1, &sConfigInjected) != HAL_OK)
  {
    Error_Handler();
  }

  /** Configures for the selected ADC injected channel its corresponding rank in the sequencer and its sample time
  */
  sConfigInjected.InjectedChannel = ADC_CHANNEL_2;
  sConfigInjected.InjectedRank = 3;
  if (HAL_ADCEx_InjectedConfigChannel(&hadc1, &sConfigInjected) != HAL_OK)
  {
    Error_Handler();
  }

  /** Configures for the selected ADC injected channel its corresponding rank in the sequencer and its sample time
  */
  sConfigInjected.InjectedChannel = ADC_CHANNEL_3;
  sConfigInjected.InjectedRank = 4;
  if (HAL_ADCEx_InjectedConfigChannel(&hadc1, &sConfigInjected) != HAL_OK)
  {
    Error_Handler();
  }

}

static void MX_CAN1_Init(void)
{

  hcan1.Instance = CAN1;
  hcan1.Init.Prescaler = 6;
  hcan1.Init.Mode = CAN_MODE_NORMAL;
  hcan1.Init.SyncJumpWidth = CAN_SJW_1TQ;
  hcan1.Init.TimeSeg1 = CAN_BS1_2TQ;
  hcan1.Init.TimeSeg2 = CAN_BS2_4TQ;
  hcan1.Init.TimeTriggeredMode = DISABLE;
  hcan1.Init.AutoBusOff = DISABLE;
  hcan1.Init.AutoWakeUp = DISABLE;
  hcan1.Init.AutoRetransmission = DISABLE;
  hcan1.Init.ReceiveFifoLocked = DISABLE;
  hcan1.Init.TransmitFifoPriority = DISABLE;
  if (HAL_CAN_Init(&hcan1) != HAL_OK)
  {
    Error_Handler();
  }

}

static void MX_I2C1_Init(void)
{

  hi2c1.Instance = I2C1;
  hi2c1.Init.ClockSpeed = 100000;
  hi2c1.Init.DutyCycle = I2C_DUTYCYCLE_2;
  hi2c1.Init.OwnAddress1 = 0;
  hi2c1.Init.AddressingMode = I2C_ADDRESSINGMODE_7BIT;
  hi2c1.Init.DualAddressMode = I2C_DUALADDRESS_DISABLE;
  hi2c1.Init.OwnAddress2 = 0;
  hi2c1.Init.GeneralCallMode = I2C_GENERALCALL_DISABLE;
  hi2c1.Init.NoStretchMode = I2C_NOSTRETCH_DISABLE;
  if (HAL_I2C_Init(&hi2c1) != HAL_OK)
  {
    Error_Handler();
  }

}

static void MX_SPI1_Init(void)
{

  /* SPI1 parameter configuration*/
  hspi1.Instance = SPI1;
  hspi1.Init.Mode = SPI_MODE_MASTER;
  hspi1.Init.Direction = SPI_DIRECTION_2LINES;
  hspi1.Init.DataSize = SPI_DATASIZE_8BIT;
  hspi1.Init.CLKPolarity = SPI_POLARITY_LOW;
  hspi1.Init.CLKPhase = SPI_PHASE_1EDGE;
  hspi1.Init.NSS = SPI_NSS_SOFT;
  hspi1.Init.BaudRatePrescaler = SPI_BAUDRATEPRESCALER_16;
  hspi1.Init.FirstBit = SPI_FIRSTBIT_MSB;
  hspi1.Init.TIMode = SPI_TIMODE_DISABLE;
  hspi1.Init.CRCCalculation = SPI_CRCCALCULATION_DISABLE;
  hspi1.Init.CRCPolynomial = 10;
  if (HAL_SPI_Init(&hspi1) != HAL_OK)
  {
    Error_Handler();
  }

}

static void MX_SPI2_Init(void)
{

  /* SPI2 parameter configuration*/
  hspi2.Instance = SPI2;
  hspi2.Init.Mode = SPI_MODE_MASTER;
  hspi2.Init.Direction = SPI_DIRECTION_2LINES;
  hspi2.Init.DataSize = SPI_DATASIZE_8BIT;
  hspi2.Init.CLKPolarity = SPI_POLARITY_LOW;
  hspi2.Init.CLKPhase = SPI_PHASE_1EDGE;
  hspi2.Init.NSS = SPI_NSS_SOFT;
  hspi2.Init.BaudRatePrescaler = SPI_BAUDRATEPRESCALER_8;
  hspi2.Init.FirstBit = SPI_FIRSTBIT_MSB;
  hspi2.Init.TIMode = SPI_TIMODE_DISABLE;
  hspi2.Init.CRCCalculation = SPI_CRCCALCULATION_DISABLE;
  hspi2.Init.CRCPolynomial = 10;
  if (HAL_SPI_Init(&hspi2) != HAL_OK)
  {
    Error_Handler();
  }

}

static void MX_TIM1_Init(void)
{

  TIM_ClockConfigTypeDef sClockSourceConfig = {0};
  TIM_MasterConfigTypeDef sMasterConfig = {0};
  TIM_OC_InitTypeDef sConfigOC = {0};
  TIM_BreakDeadTimeConfigTypeDef sBreakDeadTimeConfig = {0};

  htim1.Instance = TIM1;
  htim1.Init.Prescaler = 0;
  htim1.Init.CounterMode = TIM_COUNTERMODE_UP;
  htim1.Init.Period = 65535;
  htim1.Init.ClockDivision = TIM_CLOCKDIVISION_DIV1;
  htim1.Init.RepetitionCounter = 0;
  htim1.Init.AutoReloadPreload = TIM_AUTORELOAD_PRELOAD_DISABLE;
  if (HAL_TIM_Base_Init(&htim1) != HAL_OK)
  {
    Error_Handler();
  }
  sClockSourceConfig.ClockSource = TIM_CLOCKSOURCE_INTERNAL;
  if (HAL_TIM_ConfigClockSource(&htim1, &sClockSourceConfig) != HAL_OK)
  {
    Error_Handler();
  }
  if (HAL_TIM_OC_Init(&htim1) != HAL_OK)
  {
    Error_Handler();
  }
  if (HAL_TIM_PWM_Init(&htim1) != HAL_OK)
  {
    Error_Handler();
  }
  sMasterConfig.MasterOutputTrigger = TIM_TRGO_RESET;
  sMasterConfig.MasterSlaveMode = TIM_MASTERSLAVEMODE_DISABLE;
  if (HAL_TIMEx_MasterConfigSynchronization(&htim1, &sMasterConfig) != HAL_OK)
  {
    Error_Handler();
  }
  sConfigOC.OCMode = TIM_OCMODE_TIMING;
  sConfigOC.Pulse = 0;
  sConfigOC.OCPolarity = TIM_OCPOLARITY_HIGH;
  sConfigOC.OCNPolarity = TIM_OCNPOLARITY_HIGH;
  sConfigOC.OCFastMode = TIM_OCFAST_DISABLE;
  sConfigOC.OCIdleState = TIM_OCIDLESTATE_RESET;
  sConfigOC.OCNIdleState = TIM_OCNIDLESTATE_RESET;
  if (HAL_TIM_OC_ConfigChannel(&htim1, &sConfigOC, TIM_CHANNEL_1) != HAL_OK)
  {
    Error_Handler();
  }
  sConfigOC.OCMode = TIM_OCMODE_PWM1;
  if (HAL_TIM_PWM_ConfigChannel(&htim1, &sConfigOC, TIM_CHANNEL_2) != HAL_OK)
  {
    Error_Handler();
  }
  if (HAL_TIM_PWM_ConfigChannel(&htim1, &sConfigOC, TIM_CHANNEL_3) != HAL_OK)
  {
    Error_Handler();
  }
  if (HAL_TIM_PWM_ConfigChannel(&htim1, &sConfigOC, TIM_CHANNEL_4) != HAL_OK)
  {
    Error_Handler();
  }
  sBreakDeadTimeConfig.OffStateRunMode = TIM_OSSR_DISABLE;
  sBreakDeadTimeConfig.OffStateIDLEMode = TIM_OSSI_DISABLE;
  sBreakDeadTimeConfig.LockLevel = TIM_LOCKLEVEL_OFF;
  sBreakDeadTimeConfig.DeadTime = 0;
  sBreakDeadTimeConfig.BreakState = TIM_BREAK_DISABLE;
  sBreakDeadTimeConfig.BreakPolarity = TIM_BREAKPOLARITY_HIGH;
  sBreakDeadTimeConfig.AutomaticOutput = TIM_AUTOMATICOUTPUT_DISABLE;
  if (HAL_TIMEx_ConfigBreakDeadTime(&htim1, &sBreakDeadTimeConfig) != HAL_OK)
  {
    Error_Handler();
  }
  HAL_TIM_MspPostInit(&htim1);

}

static void MX_USART6_UART_Init(void)
{

  huart6.Instance = USART6;
  huart6.Init.BaudRate = 115200;
  huart6.Init.WordLength = UART_WORDLENGTH_8B;
  huart6.Init.StopBits = UART_STOPBITS_1;
  huart6.Init.Parity = UART_PARITY_NONE;
  huart6.Init.Mode = UART_MODE_TX_RX;
  huart6.Init.HwFlowCtl = UART_HWCONTROL_NONE;
  huart6.Init.OverSampling = UART_OVERSAMPLING_16;
  if (HAL_UART_Init(&huart6) != HAL_OK)
  {
    Error_Handler();
  }

}

static void MX_DMA_Init(void)
{

  /* DMA controller clock enable */
  __HAL_RCC_DMA2_CLK_ENABLE();
  __HAL_RCC_DMA1_CLK_ENABLE();

  /* DMA interrupt init */
  /* DMA1_Stream0_IRQn interrupt configuration */
  HAL_NVIC_SetPriority(DMA1_Stream0_IRQn, 7, 0);
  HAL_NVIC_EnableIRQ(DMA1_Stream0_IRQn);
  /* DMA1_Stream3_IRQn interrupt configuration */
  HAL_NVIC_SetPriority(DMA1_Stream3_IRQn, 7, 0);
  HAL_NVIC_EnableIRQ(DMA1_Stream3_IRQn);
  /* DMA1_Stream4_IRQn interrupt configuration */
  HAL_NVIC_SetPriority(DMA1_Stream4_IRQn, 7, 0);
  HAL_NVIC_EnableIRQ(DMA1_Stream4_IRQn);
  /* DMA1_Stream6_IRQn interrupt configuration */
  HAL_NVIC_SetPriority(DMA1_Stream6_IRQn, 7, 0);
  HAL_NVIC_EnableIRQ(DMA1_Stream6_IRQn);
  /* DMA2_Stream0_IRQn interrupt configuration */
  HAL_NVIC_SetPriority(DMA2_Stream0_IRQn, 7, 0);
  HAL_NVIC_EnableIRQ(DMA2_Stream0_IRQn);
  /* DMA2_Stream1_IRQn interrupt configuration */
  HAL_NVIC_SetPriority(DMA2_Stream1_IRQn, 7, 0);
  HAL_NVIC_EnableIRQ(DMA2_Stream1_IRQn);
  /* DMA2_Stream3_IRQn interrupt configuration */
  HAL_NVIC_SetPriority(DMA2_Stream3_IRQn, 7, 0);
  HAL_NVIC_EnableIRQ(DMA2_Stream3_IRQn);
  /* DMA2_Stream6_IRQn interrupt configuration */
  HAL_NVIC_SetPriority(DMA2_Stream6_IRQn, 7, 0);
  HAL_NVIC_EnableIRQ(DMA2_Stream6_IRQn);

}

static void MX_GPIO_Init(void)
{
  GPIO_InitTypeDef GPIO_InitStruct = {0};

  /* GPIO Ports Clock Enable */
  __HAL_RCC_GPIOH_CLK_ENABLE();
  __HAL_RCC_GPIOC_CLK_ENABLE();
  __HAL_RCC_GPIOA_CLK_ENABLE();
  __HAL_RCC_GPIOB_CLK_ENABLE();

  /*Configure GPIO pin Output Level */
  HAL_GPIO_WritePin(GPIOB, AS5048A_EX_CS_Pin|AS5048A_IN_CS_Pin, GPIO_PIN_RESET);

  /*Configure GPIO pin Output Level */
  HAL_GPIO_WritePin(GPIOC, DRV832xS_ENABLE_Pin|DRV8323_CS_Pin, GPIO_PIN_RESET);

  /*Configure GPIO pins : AS5048A_EX_CS_Pin AS5048A_IN_CS_Pin */
  GPIO_InitStruct.Pin = AS5048A_EX_CS_Pin|AS5048A_IN_CS_Pin;
  GPIO_InitStruct.Mode = GPIO_MODE_OUTPUT_PP;
  GPIO_InitStruct.Pull = GPIO_NOPULL;
  GPIO_InitStruct.Speed = GPIO_SPEED_FREQ_VERY_HIGH;
  HAL_GPIO_Init(GPIOB, &GPIO_InitStruct);

  /*Configure GPIO pin : DRV832xS_FAULT_Pin */
  GPIO_InitStruct.Pin = DRV832xS_FAULT_Pin;
  GPIO_InitStruct.Mode = GPIO_MODE_INPUT;
  GPIO_InitStruct.Pull = GPIO_NOPULL;
  HAL_GPIO_Init(DRV832xS_FAULT_GPIO_Port, &GPIO_InitStruct);

  /*Configure GPIO pins : DRV832xS_ENABLE_Pin DRV8323_CS_Pin */
  GPIO_InitStruct.Pin = DRV832xS_ENABLE_Pin|DRV8323_CS_Pin;
  GPIO_InitStruct.Mode = GPIO_MODE_OUTPUT_PP;
  GPIO_InitStruct.Pull = GPIO_NOPULL;
  GPIO_InitStruct.Speed = GPIO_SPEED_FREQ_VERY_HIGH;
  HAL_GPIO_Init(GPIOC, &GPIO_InitStruct);

}

void StartDefaultTask(void *argument)
{
  for(;;)
  {
    osDelay(1);
  }
}

void HAL_TIM_PeriodElapsedCallback(TIM_HandleTypeDef *htim)
{
  if (htim->Instance == TIM11)
  {
    HAL_IncTick();
  }
}

void Error_Handler(void)
{
  __disable_irq();
  while (1)
  {
  }
}
